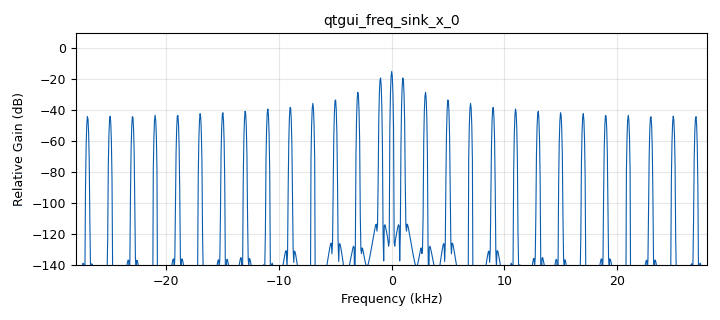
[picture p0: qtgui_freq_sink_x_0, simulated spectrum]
options:
  parameters:
    generate_options: qt_gui
    id: exercise_2_2
    output_language: python
    title: Exercise 2.2 - Data Rate
  states: {}

blocks:
- name: samp_rate
  id: variable
  parameters:
    value: '56000'
  states: {}
- name: variable_repeat
  id: variable_qtgui_range
  parameters:
    label: Repeat Count
    orient: Qt.Horizontal
    start: '1'
    step: '1'
    stop: '20'
    value: '1'
  states: {}
- name: analog_sig_source_x_0
  id: analog_sig_source_x
  parameters:
    amp: '1'
    freq: '1000'
    offset: '0'
    phase: '0'
    samp_rate: samp_rate
    type: byte
    waveform: analog.GR_SQR_WAVE
  states: {}
- name: blocks_char_to_float_0
  id: blocks_char_to_float
  parameters:
    scale: '1'
  states: {}
- name: blocks_repeat_0
  id: blocks_repeat
  parameters:
    interp: variable_repeat
    type: byte
  states: {}
- name: blocks_throttle_0
  id: blocks_throttle
  parameters:
    samples_per_second: samp_rate
    type: byte
  states: {}
- name: qtgui_freq_sink_x_0
  id: qtgui_freq_sink_x
  parameters:
    bw: samp_rate
    fc: '0'
    fftsize: '1024'
    type: float
    wintype: firdes.WIN_BLACKMAN_hARRIS
  states: {}

connections:
- [analog_sig_source_x_0, '0', blocks_throttle_0, '0']
- [blocks_char_to_float_0, '0', qtgui_freq_sink_x_0, '0']
- [blocks_repeat_0, '0', blocks_char_to_float_0, '0']
- [blocks_throttle_0, '0', blocks_repeat_0, '0']

metadata:
  file_format: 1
